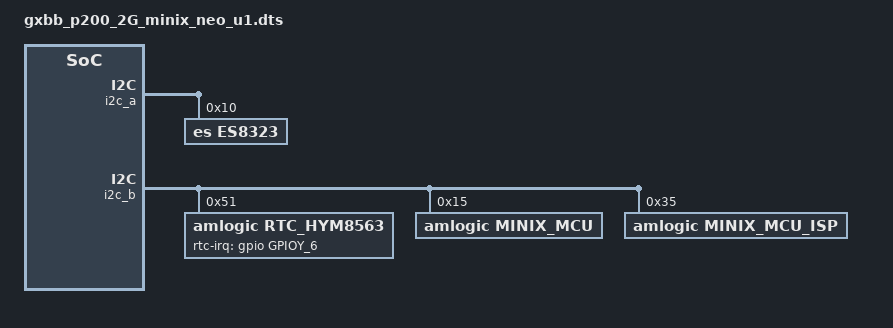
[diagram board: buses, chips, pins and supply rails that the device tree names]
#include "gxbb_p200_2G.dts"

/{
	le-dt-id = "gxbb_p200_2G_minix_neo_u1";
	rtc {
		status = "disabled";
	};

	sd {
		sd { 
			voltage =   <&gpio_ao	GPIOAO_5	 GPIO_ACTIVE_HIGH>;
		};
	};

	amhdmitx: amhdmitx {
		pwr-ctrl = <&pwr_ctrl>;
	};
	
	pwr_ctrl: pwr_ctrl {
		pwr_5v_on = <&gpio	   GPIOY_5	   GPIO_ACTIVE_HIGH>;
		PWR_STBY_PWREN = <&gpio	   GPIOY_7	   GPIO_ACTIVE_HIGH>;
	};

	dwc2_a {
		port-type = <0>;	/** 0: otg, 1: host, 2: slave */
		port-id-mode = <0>; /** 0: hardware, 1: sw_host, 2: sw_slave*/
		gpio-vbus-power = "GPIOY_3";
		gpios = <&gpio	   GPIOY_3	   GPIO_ACTIVE_HIGH>;
		gpio-h = <&gpio	   GPIOY_4	   GPIO_ACTIVE_LOW>;
	};

	dummy_codec:dummy{
		status = "disabled";
	};

	aml_m8_snd {
		mute_gpio-gpios = <&gpio GPIOY_11 0>;

		codec0: codec0 {
			sound-dai = <&es8323>;
		};
	};

	adc_keypad{
		status = "disabled";
	};
};

&i2c_a {
	status = "okay";
	es8323: es8323@10 {
		#sound-dai-cells = <0>;
		compatible = "es, es8323";
		reg = <0x10>;
	};
/*p200_2g: audio chip, ok*/
};

&i2c_b {
	status = "okay";

	rtc_hym8563{
		compatible = "amlogic, rtc_hym8563";					  /** for driver probe, must have  */
		dev_name = "rtc_hym8563";
		status = "okay";		 
		reg = <0x51>;									 /** device i2c address, must have		*/
		interrupts = <0 64 1>;
		gpio-rtc-irq = <&gpio	   GPIOY_6	   GPIO_ACTIVE_HIGH>;
	};

	minix_mcu {
		compatible = "amlogic,minix_mcu";
		status = "okay";
		reg = <0x15>;
	};

	minix_mcu_isp{
		compatible = "amlogic,minix_mcu_isp";
		reg = <0x35>;
	};
};

&pinmux {
	audio_spdif_pins:audio_pin1{
		amlogic,setmask=<1 0x10200>;	/*spdif_out*/
	};
};
